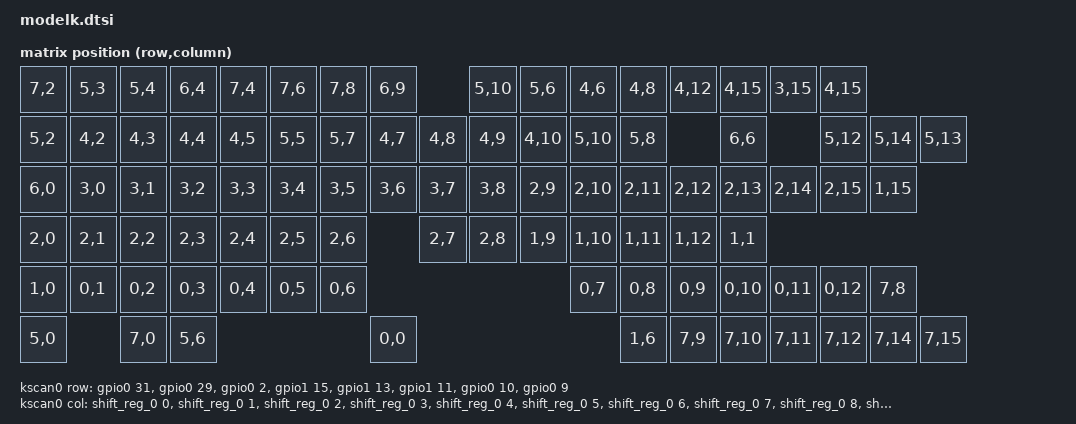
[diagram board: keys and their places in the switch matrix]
#include <dt-bindings/zmk/matrix_transform.h>

/ {
    chosen {
        zmk,kscan = &kscan0;
        zmk,matrix_transform = &default_transform;
    };

    default_transform: keymap_transform_0 {
        compatible = "zmk,matrix-transform";
        columns = <16>;
        rows = <8>;

        // TODO Finish map
        map = <
            // Row 0 (top physical row)
            RC(7,2)     RC(5,3) RC(5,4) RC(6,4) RC(7,4) RC(7,6) RC(7,8) RC(6,9) RC(5,10) RC(5,6) RC(4,6) RC(4,8) RC(4,12)    RC(4,15) RC(3,15) RC(4,15)

            // Row 1
            RC(5,2) RC(4,2) RC(4,3) RC(4,4) RC(4,5) RC(5,5) RC(5,7) RC(4,7) RC(4,8) RC(4,9) RC(4,10) RC(5,10) RC(5,8) /*plunger*/ RC(6,6)         RC(5,12) RC(5,14) RC(5,13)

            // Row 2
            RC(6,0) RC(3,0) RC(3,1) RC(3,2) RC(3,3) RC(3,4) RC(3,5) RC(3,6) RC(3,7) RC(3,8) RC(2,9) RC(2,10) RC(2,11) RC(2,12) RC(2,13)      RC(2,14) RC(2,15) RC(1,15)

            // Row 3
            RC(2,0) RC(2,1) RC(2,2) RC(2,3) RC(2,4) RC(2,5) RC(2,6) RC(2,7) RC(2,8) RC(1,9) RC(1,10) RC(1,11) RC(1,12)         RC(1,1)

            // Row 4
            RC(1,0) RC(0,1) RC(0,2) RC(0,3) RC(0,4) RC(0,5) RC(0,6) RC(0,7) RC(0,8) RC(0,9) RC(0,10) RC(0,11)                  RC(0,12)                     RC(7,8)

            // Row 5
            RC(5,0)         RC(7,0) RC(5,6)                         RC(0,0)                                     RC(1,6) RC(7,9) RC(7,10)      RC(7,11) RC(7,12) RC(7,14) RC(7,15)

        >;
    };


    kscan0: kscan {
        compatible = "zmk,kscan-gpio-matrix";
        label = "KSCAN";

        // 8 rows
        // Yes these pins are all over the place but they are correct
        row-gpios =
            <&gpio0 31 (GPIO_ACTIVE_HIGH | GPIO_PULL_DOWN)>,  // Row 0
            <&gpio0 29 (GPIO_ACTIVE_HIGH | GPIO_PULL_DOWN)>,  // Row 1
            <&gpio0 2  (GPIO_ACTIVE_HIGH | GPIO_PULL_DOWN)>,  // Row 2
            <&gpio1 15 (GPIO_ACTIVE_HIGH | GPIO_PULL_DOWN)>,  // Row 3
            <&gpio1 13 (GPIO_ACTIVE_HIGH | GPIO_PULL_DOWN)>,  // Row 4
            <&gpio1 11 (GPIO_ACTIVE_HIGH | GPIO_PULL_DOWN)>,  // Row 5
            <&gpio0 10 (GPIO_ACTIVE_HIGH | GPIO_PULL_DOWN)>,  // Row 6
            <&gpio0 9  (GPIO_ACTIVE_HIGH | GPIO_PULL_DOWN)>;  // Row 7

        // 16 columns via shift registers
        col-gpios =
            <&shift_reg_0 0  GPIO_ACTIVE_HIGH>,   // Col 0
            <&shift_reg_0 1  GPIO_ACTIVE_HIGH>,   // Col 1
            <&shift_reg_0 2  GPIO_ACTIVE_HIGH>,   // Col 2
            <&shift_reg_0 3  GPIO_ACTIVE_HIGH>,   // Col 3
            <&shift_reg_0 4  GPIO_ACTIVE_HIGH>,   // Col 4
            <&shift_reg_0 5  GPIO_ACTIVE_HIGH>,   // Col 5
            <&shift_reg_0 6  GPIO_ACTIVE_HIGH>,   // Col 6
            <&shift_reg_0 7  GPIO_ACTIVE_HIGH>,   // Col 7
            <&shift_reg_0 8  GPIO_ACTIVE_HIGH>,   // Col 8
            <&shift_reg_0 9  GPIO_ACTIVE_HIGH>,   // Col 9
            <&shift_reg_0 10 GPIO_ACTIVE_HIGH>,   // Col 10
            <&shift_reg_0 11 GPIO_ACTIVE_HIGH>,   // Col 11
            <&shift_reg_0 12 GPIO_ACTIVE_HIGH>,   // Col 12
            <&shift_reg_0 13 GPIO_ACTIVE_HIGH>,   // Col 13
            <&shift_reg_0 14 GPIO_ACTIVE_HIGH>,   // Col 14
            <&shift_reg_0 15 GPIO_ACTIVE_HIGH>;   // Col 15
    };
};

&spi1 {
    compatible = "nordic,nrf-spim";
    status = "okay";

    pinctrl-0 = <&spi1_default>;
    pinctrl-names = "default";

    shift_reg_0: 74hc165@0 {
        compatible = "zmk,gpio-595";
        status = "okay";
        reg = <0>;
        spi-max-frequency = <200000>;
        gpio-controller;
        #gpio-cells = <2>;
        ngpios = <16>; // Daisy chained so 16
    };
};

&pinctrl {
    spi1_default: spi1_default {
        group1 {
            psels = <NRF_PSEL(SPIM_SCK, 0, 17)>,   // SCLK - pin 6 (017)
                    <NRF_PSEL(SPIM_MOSI, 0, 20)>,  // MOSI - pin 8 (022)
                    <NRF_PSEL(SPIM_MISO, 0, 22)>;  // CS   - pin 7 (020)
        };
    };
};
